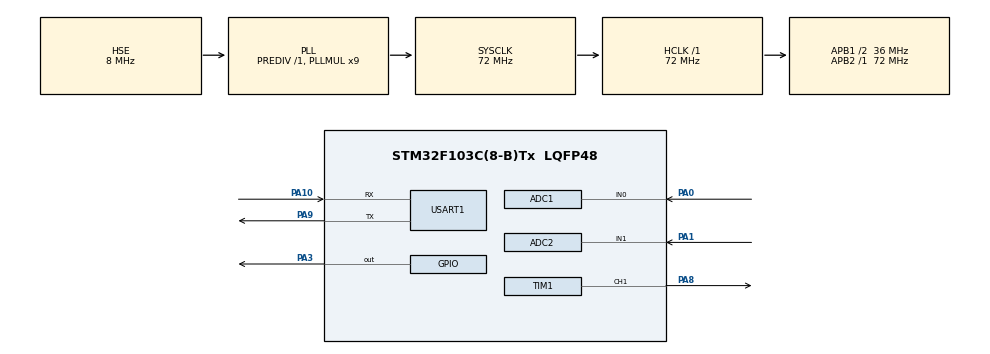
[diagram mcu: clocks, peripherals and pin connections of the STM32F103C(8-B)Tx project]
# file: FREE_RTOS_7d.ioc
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ADC1.Channel-0\#ChannelRegularConversion=ADC_CHANNEL_0
ADC1.NbrOfConversionFlag=1
ADC1.Rank-0\#ChannelRegularConversion=1
ADC1.SamplingTime-0\#ChannelRegularConversion=ADC_SAMPLETIME_1CYCLE_5
ADC1.master=1
ADC2.Channel-0\#ChannelRegularConversion=ADC_CHANNEL_1
ADC2.NbrOfConversionFlag=1
ADC2.Rank-0\#ChannelRegularConversion=1
ADC2.SamplingTime-0\#ChannelRegularConversion=ADC_SAMPLETIME_1CYCLE_5
FREERTOS.Tasks01=defaultTask,0,128,StartDefaultTask,Default,NULL,Dynamic,NULL,NULL;myTask02,1,128,StartTask02,Default,NULL,Dynamic,NULL,NULL;myTask03,2,128,StartTask03,Default,NULL,Dynamic,NULL,NULL
Mcu.Family=STM32F1
Mcu.Name=STM32F103C(8-B)Tx
Mcu.Package=LQFP48
NVIC.PriorityGroup=NVIC_PRIORITYGROUP_4
PA0-WKUP.Signal=ADCx_IN0
PA1.Signal=ADCx_IN1
PA10.Mode=Asynchronous
PA10.Signal=USART1_RX
PA13.Mode=Serial_Wire
PA13.Signal=SYS_JTMS-SWDIO
PA14.Mode=Serial_Wire
PA14.Signal=SYS_JTCK-SWCLK
PA3.Signal=GPIO_Output
PA8.Signal=S_TIM1_CH1
PA9.Mode=Asynchronous
PA9.Signal=USART1_TX
PD0-OSC_IN.Mode=HSE-External-Oscillator
PD0-OSC_IN.Signal=RCC_OSC_IN
PD1-OSC_OUT.Mode=HSE-External-Oscillator
PD1-OSC_OUT.Signal=RCC_OSC_OUT
ProjectManager.HeapSize=0x200
ProjectManager.StackSize=0x400
ProjectManager.TargetToolchain=MDK-ARM V5.32
RCC.ADCPresc=RCC_ADCPCLK2_DIV6
RCC.AHBFreq_Value=72000000
RCC.APB1CLKDivider=RCC_HCLK_DIV2
RCC.APB1Freq_Value=36000000
RCC.APB1TimFreq_Value=72000000
RCC.APB2Freq_Value=72000000
RCC.APB2TimFreq_Value=72000000
RCC.HCLKFreq_Value=72000000
RCC.PLLMUL=RCC_PLL_MUL9
RCC.PLLSourceVirtual=RCC_PLLSOURCE_HSE
RCC.SYSCLKFreq_VALUE=72000000
RCC.SYSCLKSource=RCC_SYSCLKSOURCE_PLLCLK
RCC.USBFreq_Value=72000000
SH.ADCx_IN0.0=ADC1_IN0,IN0
SH.ADCx_IN1.0=ADC2_IN1,IN1
SH.S_TIM1_CH1.0=TIM1_CH1,PWM Generation1 CH1
TIM1.AutoReloadPreload=TIM_AUTORELOAD_PRELOAD_ENABLE
TIM1.Channel-PWM\ Generation1\ CH1=TIM_CHANNEL_1
TIM1.Period=2249
TIM1.Prescaler=1
USART1.VirtualMode=VM_ASYNC
VP_FREERTOS_VS_CMSIS_V1.Mode=CMSIS_V1
VP_TIM1_VS_ClockSourceINT.Mode=Internal
board=custom

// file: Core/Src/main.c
/* USER CODE BEGIN Header */
/**
  ******************************************************************************
  * @file           : main.c
  * @brief          : Main program body
  ******************************************************************************
  * @attention
  *
  * Copyright (c) 2022 STMicroelectronics.
  * All rights reserved.
  *
  * This software is licensed under terms that can be found in the LICENSE file
  * in the root directory of this software component.
  * If no LICENSE file comes with this software, it is provided AS-IS.
  *
  ******************************************************************************
  */
/* USER CODE END Header */
#include "main.h"
#include "cmsis_os.h"

/* USER CODE BEGIN Includes */
#include <stdio.h>
/* USER CODE END Includes */

ADC_HandleTypeDef hadc1;
ADC_HandleTypeDef hadc2;

TIM_HandleTypeDef htim1;

UART_HandleTypeDef huart1;

osThreadId defaultTaskHandle;
osThreadId myTask02Handle;
osThreadId myTask03Handle;
/* USER CODE BEGIN PV */
uint32_t adc_value2;
float v1;
float v2;
uint8_t data_send[50];
uint32_t adc_value;
float pwm_value;
uint16_t pwm;

/* USER CODE END PV */

void SystemClock_Config(void);
static void MX_GPIO_Init(void);
static void MX_ADC1_Init(void);
static void MX_ADC2_Init(void);
static void MX_USART1_UART_Init(void);
static void MX_TIM1_Init(void);
void StartDefaultTask(void const * argument);
void StartTask02(void const * argument);
void StartTask03(void const * argument);

int main(void)
{

  /* MCU Configuration--------------------------------------------------------*/

  /* Reset of all peripherals, Initializes the Flash interface and the Systick. */
  HAL_Init();

  /* Configure the system clock */
  SystemClock_Config();

  /* Initialize all configured peripherals */
  MX_GPIO_Init();
  MX_ADC1_Init();
  MX_ADC2_Init();
  MX_USART1_UART_Init();
  MX_TIM1_Init();
  /* USER CODE BEGIN 2 */
	HAL_TIM_PWM_Start(&htim1, TIM_CHANNEL_1);
  /* USER CODE END 2 */

  /* Create the thread(s) */
  /* definition and creation of defaultTask */
  osThreadDef(defaultTask, StartDefaultTask, osPriorityNormal, 0, 128);
  defaultTaskHandle = osThreadCreate(osThread(defaultTask), NULL);

  /* definition and creation of myTask02 */
  osThreadDef(myTask02, StartTask02, osPriorityAboveNormal, 0, 128);
  myTask02Handle = osThreadCreate(osThread(myTask02), NULL);

  /* definition and creation of myTask03 */
  osThreadDef(myTask03, StartTask03, osPriorityHigh, 0, 128);
  myTask03Handle = osThreadCreate(osThread(myTask03), NULL);

  /* Start scheduler */
  osKernelStart();

  /* We should never get here as control is now taken by the scheduler */
  /* Infinite loop */
  while (1)
  {

  }
}

void SystemClock_Config(void)
{
  RCC_OscInitTypeDef RCC_OscInitStruct = {0};
  RCC_ClkInitTypeDef RCC_ClkInitStruct = {0};
  RCC_PeriphCLKInitTypeDef PeriphClkInit = {0};

  /** Initializes the RCC Oscillators according to the specified parameters
  * in the RCC_OscInitTypeDef structure.
  */
  RCC_OscInitStruct.OscillatorType = RCC_OSCILLATORTYPE_HSE;
  RCC_OscInitStruct.HSEState = RCC_HSE_ON;
  RCC_OscInitStruct.HSEPredivValue = RCC_HSE_PREDIV_DIV1;
  RCC_OscInitStruct.HSIState = RCC_HSI_ON;
  RCC_OscInitStruct.PLL.PLLState = RCC_PLL_ON;
  RCC_OscInitStruct.PLL.PLLSource = RCC_PLLSOURCE_HSE;
  RCC_OscInitStruct.PLL.PLLMUL = RCC_PLL_MUL9;
  if (HAL_RCC_OscConfig(&RCC_OscInitStruct) != HAL_OK)
  {
    Error_Handler();
  }

  /** Initializes the CPU, AHB and APB buses clocks
  */
  RCC_ClkInitStruct.ClockType = RCC_CLOCKTYPE_HCLK|RCC_CLOCKTYPE_SYSCLK
                              |RCC_CLOCKTYPE_PCLK1|RCC_CLOCKTYPE_PCLK2;
  RCC_ClkInitStruct.SYSCLKSource = RCC_SYSCLKSOURCE_PLLCLK;
  RCC_ClkInitStruct.AHBCLKDivider = RCC_SYSCLK_DIV1;
  RCC_ClkInitStruct.APB1CLKDivider = RCC_HCLK_DIV2;
  RCC_ClkInitStruct.APB2CLKDivider = RCC_HCLK_DIV1;

  if (HAL_RCC_ClockConfig(&RCC_ClkInitStruct, FLASH_LATENCY_2) != HAL_OK)
  {
    Error_Handler();
  }
  PeriphClkInit.PeriphClockSelection = RCC_PERIPHCLK_ADC;
  PeriphClkInit.AdcClockSelection = RCC_ADCPCLK2_DIV6;
  if (HAL_RCCEx_PeriphCLKConfig(&PeriphClkInit) != HAL_OK)
  {
    Error_Handler();
  }
}

static void MX_ADC1_Init(void)
{

  ADC_ChannelConfTypeDef sConfig = {0};

  /** Common config
  */
  hadc1.Instance = ADC1;
  hadc1.Init.ScanConvMode = ADC_SCAN_DISABLE;
  hadc1.Init.ContinuousConvMode = DISABLE;
  hadc1.Init.DiscontinuousConvMode = DISABLE;
  hadc1.Init.ExternalTrigConv = ADC_SOFTWARE_START;
  hadc1.Init.DataAlign = ADC_DATAALIGN_RIGHT;
  hadc1.Init.NbrOfConversion = 1;
  if (HAL_ADC_Init(&hadc1) != HAL_OK)
  {
    Error_Handler();
  }

  /** Configure Regular Channel
  */
  sConfig.Channel = ADC_CHANNEL_0;
  sConfig.Rank = ADC_REGULAR_RANK_1;
  sConfig.SamplingTime = ADC_SAMPLETIME_1CYCLE_5;
  if (HAL_ADC_ConfigChannel(&hadc1, &sConfig) != HAL_OK)
  {
    Error_Handler();
  }

}

static void MX_ADC2_Init(void)
{

  ADC_ChannelConfTypeDef sConfig = {0};

  /** Common config
  */
  hadc2.Instance = ADC2;
  hadc2.Init.ScanConvMode = ADC_SCAN_DISABLE;
  hadc2.Init.ContinuousConvMode = DISABLE;
  hadc2.Init.DiscontinuousConvMode = DISABLE;
  hadc2.Init.ExternalTrigConv = ADC_SOFTWARE_START;
  hadc2.Init.DataAlign = ADC_DATAALIGN_RIGHT;
  hadc2.Init.NbrOfConversion = 1;
  if (HAL_ADC_Init(&hadc2) != HAL_OK)
  {
    Error_Handler();
  }

  /** Configure Regular Channel
  */
  sConfig.Channel = ADC_CHANNEL_1;
  sConfig.Rank = ADC_REGULAR_RANK_1;
  sConfig.SamplingTime = ADC_SAMPLETIME_1CYCLE_5;
  if (HAL_ADC_ConfigChannel(&hadc2, &sConfig) != HAL_OK)
  {
    Error_Handler();
  }

}

static void MX_TIM1_Init(void)
{

  TIM_ClockConfigTypeDef sClockSourceConfig = {0};
  TIM_MasterConfigTypeDef sMasterConfig = {0};
  TIM_OC_InitTypeDef sConfigOC = {0};
  TIM_BreakDeadTimeConfigTypeDef sBreakDeadTimeConfig = {0};

  htim1.Instance = TIM1;
  htim1.Init.Prescaler = 1;
  htim1.Init.CounterMode = TIM_COUNTERMODE_UP;
  htim1.Init.Period = 2249;
  htim1.Init.ClockDivision = TIM_CLOCKDIVISION_DIV1;
  htim1.Init.RepetitionCounter = 0;
  htim1.Init.AutoReloadPreload = TIM_AUTORELOAD_PRELOAD_ENABLE;
  if (HAL_TIM_Base_Init(&htim1) != HAL_OK)
  {
    Error_Handler();
  }
  sClockSourceConfig.ClockSource = TIM_CLOCKSOURCE_INTERNAL;
  if (HAL_TIM_ConfigClockSource(&htim1, &sClockSourceConfig) != HAL_OK)
  {
    Error_Handler();
  }
  if (HAL_TIM_PWM_Init(&htim1) != HAL_OK)
  {
    Error_Handler();
  }
  sMasterConfig.MasterOutputTrigger = TIM_TRGO_RESET;
  sMasterConfig.MasterSlaveMode = TIM_MASTERSLAVEMODE_DISABLE;
  if (HAL_TIMEx_MasterConfigSynchronization(&htim1, &sMasterConfig) != HAL_OK)
  {
    Error_Handler();
  }
  sConfigOC.OCMode = TIM_OCMODE_PWM1;
  sConfigOC.Pulse = 0;
  sConfigOC.OCPolarity = TIM_OCPOLARITY_HIGH;
  sConfigOC.OCNPolarity = TIM_OCNPOLARITY_HIGH;
  sConfigOC.OCFastMode = TIM_OCFAST_DISABLE;
  sConfigOC.OCIdleState = TIM_OCIDLESTATE_RESET;
  sConfigOC.OCNIdleState = TIM_OCNIDLESTATE_RESET;
  if (HAL_TIM_PWM_ConfigChannel(&htim1, &sConfigOC, TIM_CHANNEL_1) != HAL_OK)
  {
    Error_Handler();
  }
  sBreakDeadTimeConfig.OffStateRunMode = TIM_OSSR_DISABLE;
  sBreakDeadTimeConfig.OffStateIDLEMode = TIM_OSSI_DISABLE;
  sBreakDeadTimeConfig.LockLevel = TIM_LOCKLEVEL_OFF;
  sBreakDeadTimeConfig.DeadTime = 0;
  sBreakDeadTimeConfig.BreakState = TIM_BREAK_DISABLE;
  sBreakDeadTimeConfig.BreakPolarity = TIM_BREAKPOLARITY_HIGH;
  sBreakDeadTimeConfig.AutomaticOutput = TIM_AUTOMATICOUTPUT_DISABLE;
  if (HAL_TIMEx_ConfigBreakDeadTime(&htim1, &sBreakDeadTimeConfig) != HAL_OK)
  {
    Error_Handler();
  }
  HAL_TIM_MspPostInit(&htim1);

}

static void MX_USART1_UART_Init(void)
{

  huart1.Instance = USART1;
  huart1.Init.BaudRate = 115200;
  huart1.Init.WordLength = UART_WORDLENGTH_8B;
  huart1.Init.StopBits = UART_STOPBITS_1;
  huart1.Init.Parity = UART_PARITY_NONE;
  huart1.Init.Mode = UART_MODE_TX_RX;
  huart1.Init.HwFlowCtl = UART_HWCONTROL_NONE;
  huart1.Init.OverSampling = UART_OVERSAMPLING_16;
  if (HAL_UART_Init(&huart1) != HAL_OK)
  {
    Error_Handler();
  }

}

static void MX_GPIO_Init(void)
{
  GPIO_InitTypeDef GPIO_InitStruct = {0};

  /* GPIO Ports Clock Enable */
  __HAL_RCC_GPIOD_CLK_ENABLE();
  __HAL_RCC_GPIOA_CLK_ENABLE();

  /*Configure GPIO pin Output Level */
  HAL_GPIO_WritePin(GPIOA, GPIO_PIN_3, GPIO_PIN_RESET);

  /*Configure GPIO pin : PA3 */
  GPIO_InitStruct.Pin = GPIO_PIN_3;
  GPIO_InitStruct.Mode = GPIO_MODE_OUTPUT_PP;
  GPIO_InitStruct.Pull = GPIO_NOPULL;
  GPIO_InitStruct.Speed = GPIO_SPEED_FREQ_LOW;
  HAL_GPIO_Init(GPIOA, &GPIO_InitStruct);

}

void StartDefaultTask(void const * argument)
{
  /* USER CODE BEGIN 5 */
  /* Infinite loop */
  for(;;)
  {
		HAL_GPIO_WritePin(GPIOA, GPIO_PIN_3, 1);
		HAL_Delay(222);
		HAL_GPIO_WritePin(GPIOA, GPIO_PIN_3, 0);
		HAL_Delay(111);
  }
  /* USER CODE END 5 */
}

void StartTask02(void const * argument)
{
  /* USER CODE BEGIN StartTask02 */
  /* Infinite loop */
  for(;;)
  {
    HAL_ADC_Start(&hadc2);
		HAL_ADC_PollForConversion(&hadc2, 100);
		adc_value2 = HAL_ADC_GetValue(&hadc2);
		v2 = adc_value2*3.3/4095;
		sprintf(&data_send[0], "V = %4.2f\t\n", v2);
		HAL_UART_Transmit(&huart1, &data_send[0], sizeof(data_send), 10);
    osDelay(1000);
  }
  /* USER CODE END StartTask02 */
}

void StartTask03(void const * argument)
{
  /* USER CODE BEGIN StartTask03 */
  /* Infinite loop */
  for(;;)
  {
		 HAL_ADC_Start(&hadc1);
	 	 HAL_ADC_PollForConversion(&hadc1,100);
	 	 adc_value = HAL_ADC_GetValue(&hadc1);
	 	 pwm_value = adc_value/1.820444;
	 	 pwm = pwm_value;
		__HAL_TIM_SET_COMPARE(&htim1,TIM_CHANNEL_1,pwm);
  }
  /* USER CODE END StartTask03 */
}

void Error_Handler(void)
{
  __disable_irq();
  while (1)
  {
  }
}
